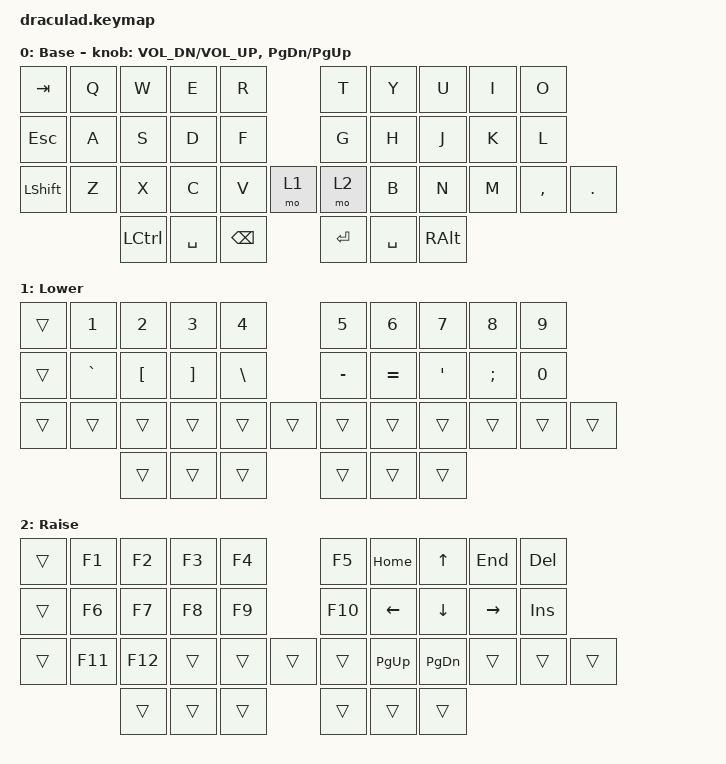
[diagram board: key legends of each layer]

#include <behaviors.dtsi>
#include <dt-bindings/zmk/keys.h>

/ {
    keymap {
        compatible = "zmk,keymap";

        base_layer {
            display-name = "Base";

            bindings = <
/* Left Half                                          Right Half */
&kp TAB     &kp Q      &kp W      &kp E      &kp R          &kp T      &kp Y      &kp U      &kp I       &kp O
&kp ESC     &kp A      &kp S      &kp D      &kp F          &kp G      &kp H      &kp J      &kp K       &kp L
&kp LSHFT   &kp Z      &kp X      &kp C      &kp V  &mo 1   &mo 2      &kp B      &kp N      &kp M       &kp COMMA &kp DOT

                      &kp LCTRL  &kp SPACE  &kp BSPC        &kp ENTER  &kp SPACE  &kp RALT
            >;

            sensor-bindings = <
                &inc_dec_kp C_VOL_DN C_VOL_UP
                &inc_dec_kp PG_DN PG_UP
            >;
        };

        lower_layer {
            display-name = "Lower";

            bindings = <
&trans &kp N1     &kp N2     &kp N3     &kp N4           &kp N5     &kp N6     &kp N7     &kp N8      &kp N9
&trans &kp GRAVE  &kp LBKT   &kp RBKT   &kp BSLH         &kp MINUS  &kp EQUAL  &kp SQT    &kp SEMI    &kp N0
&trans &trans     &trans     &trans     &trans &trans    &trans     &trans     &trans     &trans      &trans &trans

                  &trans &trans &trans                &trans &trans &trans
            >;
        };

        raise_layer {
            display-name = "Raise";

            bindings = <
&trans &kp F1 &kp F2 &kp F3 &kp F4                    &kp F5 &kp HOME &kp UP   &kp END   &kp DEL
&trans &kp F6 &kp F7 &kp F8 &kp F9                    &kp F10 &kp LEFT &kp DOWN &kp RIGHT &kp INS
&trans &kp F11 &kp F12 &trans &trans &trans           &trans &kp PG_UP &kp PG_DN &trans &trans &trans

                  &trans &trans &trans                &trans &trans &trans
            >;
        };
    };
};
